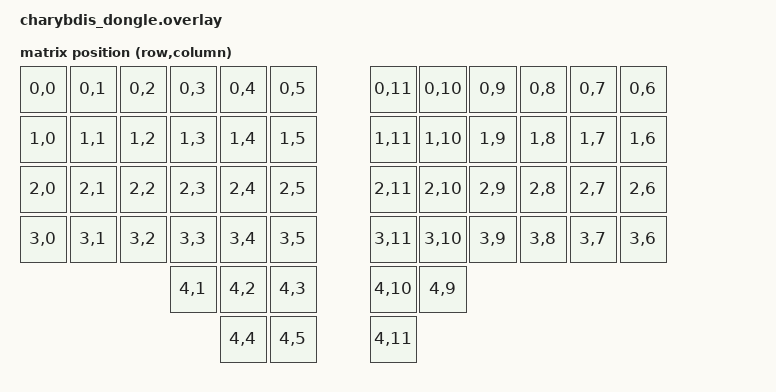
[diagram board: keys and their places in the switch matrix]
/*
 * Copyright (c) 2024 ZMK Contributors
 * SPDX-License-Identifier: MIT
 */

#include <dt-bindings/zmk/matrix_transform.h>
#include <physical_layouts.dtsi>
#include <input/processors.dtsi>
#include <dt-bindings/zmk/input_transform.h>

/ {
    physical_layout_0: physical_layout_0 {
        compatible = "zmk,physical-layout";
        display-name = "default_transform";

        kscan = <&mock_kscan>;
        transform = <&default_transform>;

        keys  //                     w   h    x    y     rot    rx    ry
            = <&key_physical_attrs 100 100    0    0       0     0     0>
            , <&key_physical_attrs 100 100  100    0       0     0     0>
            , <&key_physical_attrs 100 100  200    0       0     0     0>
            , <&key_physical_attrs 100 100  300    0       0     0     0>
            , <&key_physical_attrs 100 100  400    0       0     0     0>
            , <&key_physical_attrs 100 100  500    0       0     0     0>
            , <&key_physical_attrs 100 100  700    0       0     0     0>
            , <&key_physical_attrs 100 100  800    0       0     0     0>
            , <&key_physical_attrs 100 100  900    0       0     0     0>
            , <&key_physical_attrs 100 100 1000    0       0     0     0>
            , <&key_physical_attrs 100 100 1100    0       0     0     0>
            , <&key_physical_attrs 100 100 1200    0       0     0     0>
            , <&key_physical_attrs 100 100    0  100       0     0     0>
            , <&key_physical_attrs 100 100  100  100       0     0     0>
            , <&key_physical_attrs 100 100  200  100       0     0     0>
            , <&key_physical_attrs 100 100  300  100       0     0     0>
            , <&key_physical_attrs 100 100  400  100       0     0     0>
            , <&key_physical_attrs 100 100  500  100       0     0     0>
            , <&key_physical_attrs 100 100  700  100       0     0     0>
            , <&key_physical_attrs 100 100  800  100       0     0     0>
            , <&key_physical_attrs 100 100  900  100       0     0     0>
            , <&key_physical_attrs 100 100 1000  100       0     0     0>
            , <&key_physical_attrs 100 100 1100  100       0     0     0>
            , <&key_physical_attrs 100 100 1200  100       0     0     0>
            , <&key_physical_attrs 100 100    0  200       0     0     0>
            , <&key_physical_attrs 100 100  100  200       0     0     0>
            , <&key_physical_attrs 100 100  200  200       0     0     0>
            , <&key_physical_attrs 100 100  300  200       0     0     0>
            , <&key_physical_attrs 100 100  400  200       0     0     0>
            , <&key_physical_attrs 100 100  500  200       0     0     0>
            , <&key_physical_attrs 100 100  700  200       0     0     0>
            , <&key_physical_attrs 100 100  800  200       0     0     0>
            , <&key_physical_attrs 100 100  900  200       0     0     0>
            , <&key_physical_attrs 100 100 1000  200       0     0     0>
            , <&key_physical_attrs 100 100 1100  200       0     0     0>
            , <&key_physical_attrs 100 100 1200  200       0     0     0>
            , <&key_physical_attrs 100 100    0  300       0     0     0>
            , <&key_physical_attrs 100 100  100  300       0     0     0>
            , <&key_physical_attrs 100 100  200  300       0     0     0>
            , <&key_physical_attrs 100 100  300  300       0     0     0>
            , <&key_physical_attrs 100 100  400  300       0     0     0>
            , <&key_physical_attrs 100 100  500  300       0     0     0>
            , <&key_physical_attrs 100 100  700  300       0     0     0>
            , <&key_physical_attrs 100 100  800  300       0     0     0>
            , <&key_physical_attrs 100 100  900  300       0     0     0>
            , <&key_physical_attrs 100 100 1000  300       0     0     0>
            , <&key_physical_attrs 100 100 1100  300       0     0     0>
            , <&key_physical_attrs 100 100 1200  300       0     0     0>
            , <&key_physical_attrs 100 100  300  400       0     0     0>
            , <&key_physical_attrs 100 100  400  400       0     0     0>
            , <&key_physical_attrs 100 100  500  400       0     0     0>
            , <&key_physical_attrs 100 100  700  400       0     0     0>
            , <&key_physical_attrs 100 100  800  400       0     0     0>
            , <&key_physical_attrs 100 100  400  500       0     0     0>
            , <&key_physical_attrs 100 100  500  500       0     0     0>
            , <&key_physical_attrs 100 100  700  500       0     0     0>
            ;
    };

    chosen {
        zmk,physical-layouts = &physical_layout_0;
        zmk,kscan = &mock_kscan;
        zephyr,display = &oled;
    };

    mock_kscan: kscan_1 {
        compatible = "zmk,kscan-mock";
        columns = <0>;
        rows = <0>;
        events = <0>;
    };

    default_transform: keymap_transform_0 {
        compatible = "zmk,matrix-transform";
        columns = <12>;
        rows = <5>;

        map = <
            RC(0,0) RC(0,1) RC(0,2) RC(0,3) RC(0,4) RC(0,5)                   RC(0,11) RC(0,10) RC(0,9) RC(0,8) RC(0,7) RC(0,6)
            RC(1,0) RC(1,1) RC(1,2) RC(1,3) RC(1,4) RC(1,5)                   RC(1,11) RC(1,10) RC(1,9) RC(1,8) RC(1,7) RC(1,6)
            RC(2,0) RC(2,1) RC(2,2) RC(2,3) RC(2,4) RC(2,5)                   RC(2,11) RC(2,10) RC(2,9) RC(2,8) RC(2,7) RC(2,6)
            RC(3,0) RC(3,1) RC(3,2) RC(3,3) RC(3,4) RC(3,5)                   RC(3,11) RC(3,10) RC(3,9) RC(3,8) RC(3,7) RC(3,6)
                                    RC(4,1) RC(4,2) RC(4,3)                   RC(4,10)  RC(4,9)
                                            RC(4,4) RC(4,5)                   RC(4,11)
        >;
    };
};

&pinctrl {
    i2c0_default: i2c0_default {
        group1 {
            psels = <NRF_PSEL(TWIM_SDA, 0, 17)>,
                <NRF_PSEL(TWIM_SCL, 0, 20)>;
        };
    };

    i2c0_sleep: i2c0_sleep {
        group1 {
            psels = <NRF_PSEL(TWIM_SDA, 0, 17)>,
                <NRF_PSEL(TWIM_SCL, 0, 20)>;
            low-power-enable;
        };
    };
};

&i2c0 {
    status = "okay";
    compatible = "nordic,nrf-twi";
    pinctrl-0 = <&i2c0_default>;
    pinctrl-1 = <&i2c0_sleep>;
    pinctrl-names = "default", "sleep";

    oled: sh1106@3c {
        compatible = "sinowealth,sh1106";
        reg = <0x3c>;
        width = <129>;
        height = <64>;
        segment-offset = <1>;
        page-offset = <0>;
        display-offset = <0>;
        multiplex-ratio = <63>;
        segment-remap;
        com-invdir;
        inversion-on;
        prechargep = <0x22>;
    };
};

zephyr_udc0: &usbd {
    compatible = "nordic,nrf-usbd";
    status = "okay";
};

/ {
    my_scroll_scaler: my_scroll_scaler {
        compatible = "zmk,input-processor-scaler";
        #input-processor-cells = <2>;
        type = <INPUT_EV_REL>;
        codes = <INPUT_REL_WHEEL INPUT_REL_HWHEEL>;
        track-remainders;
    };

    split_inputs {
        #address-cells = <1>;
        #size-cells = <0>;

        trackball_split: trackball_split@0 {
            compatible = "zmk,input-split";
            reg = <0>;
        };
    };

    trackball_listener: trackball_listener {
        compatible = "zmk,input-listener";
        device = <&trackball_split>;

        scroller {
            layers = <1>;
            input-processors = <&zip_xy_transform INPUT_TRANSFORM_Y_INVERT>, 
                                <&zip_xy_to_scroll_mapper>, 
                                <&my_scroll_scaler 1 40>;
        };
    };
};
